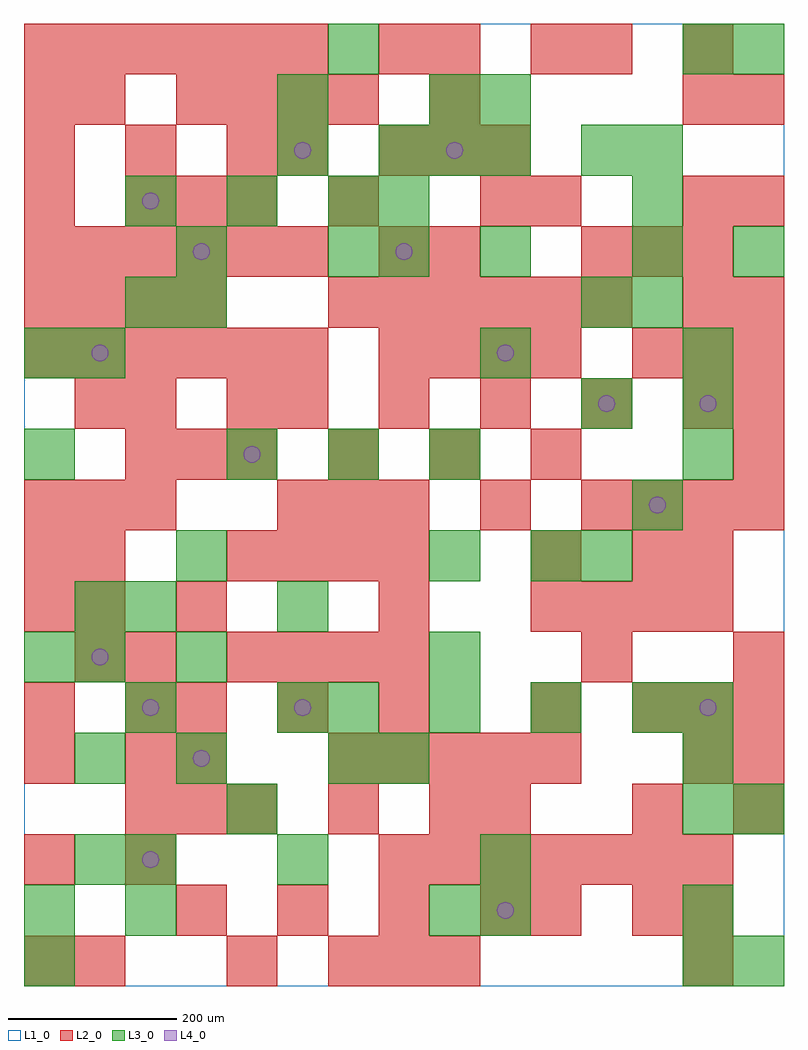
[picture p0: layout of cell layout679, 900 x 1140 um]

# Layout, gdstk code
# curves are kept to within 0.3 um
import gdstk
lib = gdstk.Library(unit=1e-6, precision=1e-09)
def R(c, l, rs):  # rectangles x0, y0, x1, y1
    for r in rs: c.add(gdstk.rectangle(r[:2], r[2:], *l))
def A(c, l, x, y, w, h, nx, ny, dx, dy):  # array of equal rectangles
    R(c, l, [(x+i*dx, y+j*dy, x+i*dx+w, y+j*dy+h) for i in range(nx) for j in range(ny)])
def P(c, l, *ps):  # polygons
    for p in ps: c.add(gdstk.Polygon(p, *l))
L1_0 = (1, 0)
L2_0 = (2, 0)
L3_0 = (3, 0)
L4_0 = (4, 0)

layout679 = lib.new_cell('layout679')
R(layout679, L1_0, [(0,0,900,1140)])
A(layout679, L2_0, 0, 0, 60, 60, 1, 3, 0, 120)
A(layout679, L2_0, 360, 0, 60, 60, 3, 1, 60, 0)
A(layout679, L2_0, 180, 60, 60, 60, 4, 1, 120, 0)
A(layout679, L2_0, 420, 120, 60, 60, 7, 1, 60, 0)
A(layout679, L2_0, 120, 180, 60, 60, 3, 2, 60, 420)
A(layout679, L2_0, 540, 180, 60, 60, 1, 3, 0, 360)
A(layout679, L2_0, 120, 240, 60, 60, 1, 3, 0, 60)
A(layout679, L2_0, 360, 240, 60, 60, 5, 1, 60, 0)
A(layout679, L2_0, 180, 300, 60, 60, 3, 1, 120, 0)
A(layout679, L2_0, 720, 300, 60, 60, 3, 2, 60, 420)
A(layout679, L2_0, 60, 360, 60, 60, 1, 3, 0, 60)
A(layout679, L2_0, 240, 360, 60, 60, 4, 2, 60, 120)
A(layout679, L2_0, 600, 420, 60, 60, 4, 1, 60, 0)
A(layout679, L2_0, 0, 540, 60, 60, 3, 1, 60, 0)
A(layout679, L2_0, 300, 540, 60, 60, 3, 1, 60, 0)
A(layout679, L2_0, 660, 540, 60, 60, 4, 1, 60, 0)
A(layout679, L2_0, 360, 600, 60, 60, 3, 1, 120, 0)
A(layout679, L2_0, 300, 660, 60, 60, 5, 1, 120, 0)
A(layout679, L2_0, 840, 660, 60, 60, 1, 4, 0, 120)
A(layout679, L2_0, 0, 720, 60, 60, 6, 2, 60, 120)
A(layout679, L2_0, 420, 720, 60, 60, 4, 1, 60, 0)
A(layout679, L2_0, 0, 780, 60, 60, 4, 1, 60, 0)
A(layout679, L2_0, 360, 780, 60, 60, 6, 1, 60, 0)
A(layout679, L2_0, 780, 780, 60, 60, 1, 3, 0, 120)
A(layout679, L2_0, 660, 840, 60, 60, 3, 1, 60, 0)
A(layout679, L2_0, 120, 900, 60, 60, 3, 1, 60, 0)
A(layout679, L2_0, 0, 960, 60, 60, 3, 1, 120, 0)
A(layout679, L2_0, 420, 960, 60, 60, 3, 1, 60, 0)
A(layout679, L2_0, 180, 1020, 60, 60, 4, 1, 60, 0)
A(layout679, L2_0, 0, 1080, 60, 60, 6, 1, 60, 0)
R(layout679, L2_0, [(60,0,120,60), (240,0,300,60), (780,0,840,60), (600,60,660,120), (720,60,780,120), (780,60,840,120), (120,120,180,180), (360,180,420,240), (480,180,540,240), (720,180,780,240), (840,180,900,240), (180,240,240,300), (780,240,840,300), (840,240,900,300), (0,300,60,360), (600,300,660,360), (660,360,720,420), (840,360,900,420), (0,420,60,480), (180,420,240,480), (420,420,480,480), (0,480,60,540), (600,480,660,540), (720,480,780,540), (780,480,840,540), (840,600,900,660), (60,660,120,720), (120,660,180,720), (240,660,300,720), (420,840,480,900), (480,840,540,900), (0,900,60,960), (360,900,420,960), (600,900,660,960), (300,960,360,1020), (0,1020,60,1080), (60,1020,120,1080), (480,1020,540,1080), (420,1080,480,1140), (480,1080,540,1140), (600,1080,660,1140), (660,1080,720,1140), (780,1080,840,1140)])
A(layout679, L3_0, 60, 120, 60, 60, 1, 3, 0, 120)
A(layout679, L3_0, 780, 180, 60, 60, 1, 3, 0, 60)
A(layout679, L3_0, 180, 240, 60, 60, 1, 3, 0, 120)
A(layout679, L3_0, 360, 300, 60, 60, 4, 1, 120, 0)
A(layout679, L3_0, 240, 600, 60, 60, 3, 1, 120, 0)
A(layout679, L3_0, 780, 600, 60, 60, 1, 3, 0, 60)
A(layout679, L3_0, 720, 780, 60, 60, 1, 4, 0, 60)
A(layout679, L3_0, 120, 900, 60, 60, 3, 1, 120, 0)
A(layout679, L3_0, 420, 960, 60, 60, 3, 1, 60, 0)
R(layout679, L3_0, [(0,0,60,60), (780,0,840,60), (840,0,900,60), (0,60,60,120), (120,60,180,120), (480,60,540,120), (540,60,600,120), (780,60,840,120), (120,120,180,180), (300,120,360,180), (540,120,600,180), (240,180,300,240), (840,180,900,240), (360,240,420,300), (420,240,480,300), (120,300,180,360), (300,300,360,360), (0,360,60,420), (480,360,540,420), (60,420,120,480), (120,420,180,480), (300,420,360,480), (480,480,540,540), (600,480,660,540), (660,480,720,540), (720,540,780,600), (0,600,60,660), (660,660,720,720), (0,720,60,780), (60,720,120,780), (540,720,600,780), (120,780,180,840), (180,780,240,840), (660,780,720,840), (180,840,240,900), (360,840,420,900), (420,840,480,900), (540,840,600,900), (840,840,900,900), (420,900,480,960), (300,960,360,1020), (660,960,720,1020), (300,1020,360,1080), (480,1020,540,1080), (540,1020,600,1080), (360,1080,420,1140), (780,1080,840,1140), (840,1080,900,1140)])
P(layout679, L4_0, [(100,390),(99.239,393.827),(97.071,397.071),(93.827,399.239),(90,400),(86.173,399.239),(82.929,397.071),(80.761,393.827),(80,390),(80.761,386.173),(82.929,382.929),(86.173,380.761),(90,380),(93.827,380.761),(97.071,382.929),(99.239,386.173)],
  [(100,750),(99.239,753.827),(97.071,757.071),(93.827,759.239),(90,760),(86.173,759.239),(82.929,757.071),(80.761,753.827),(80,750),(80.761,746.173),(82.929,742.929),(86.173,740.761),(90,740),(93.827,740.761),(97.071,742.929),(99.239,746.173)],
  [(160,150),(159.239,153.827),(157.071,157.071),(153.827,159.239),(150,160),(146.173,159.239),(142.929,157.071),(140.761,153.827),(140,150),(140.761,146.173),(142.929,142.929),(146.173,140.761),(150,140),(153.827,140.761),(157.071,142.929),(159.239,146.173)],
  [(160,330),(159.239,333.827),(157.071,337.071),(153.827,339.239),(150,340),(146.173,339.239),(142.929,337.071),(140.761,333.827),(140,330),(140.761,326.173),(142.929,322.929),(146.173,320.761),(150,320),(153.827,320.761),(157.071,322.929),(159.239,326.173)],
  [(160,930),(159.239,933.827),(157.071,937.071),(153.827,939.239),(150,940),(146.173,939.239),(142.929,937.071),(140.761,933.827),(140,930),(140.761,926.173),(142.929,922.929),(146.173,920.761),(150,920),(153.827,920.761),(157.071,922.929),(159.239,926.173)],
  [(220,270),(219.239,273.827),(217.071,277.071),(213.827,279.239),(210,280),(206.173,279.239),(202.929,277.071),(200.761,273.827),(200,270),(200.761,266.173),(202.929,262.929),(206.173,260.761),(210,260),(213.827,260.761),(217.071,262.929),(219.239,266.173)],
  [(220,870),(219.239,873.827),(217.071,877.071),(213.827,879.239),(210,880),(206.173,879.239),(202.929,877.071),(200.761,873.827),(200,870),(200.761,866.173),(202.929,862.929),(206.173,860.761),(210,860),(213.827,860.761),(217.071,862.929),(219.239,866.173)],
  [(280,630),(279.239,633.827),(277.071,637.071),(273.827,639.239),(270,640),(266.173,639.239),(262.929,637.071),(260.761,633.827),(260,630),(260.761,626.173),(262.929,622.929),(266.173,620.761),(270,620),(273.827,620.761),(277.071,622.929),(279.239,626.173)],
  [(340,330),(339.239,333.827),(337.071,337.071),(333.827,339.239),(330,340),(326.173,339.239),(322.929,337.071),(320.761,333.827),(320,330),(320.761,326.173),(322.929,322.929),(326.173,320.761),(330,320),(333.827,320.761),(337.071,322.929),(339.239,326.173)],
  [(340,990),(339.239,993.827),(337.071,997.071),(333.827,999.239),(330,1000),(326.173,999.239),(322.929,997.071),(320.761,993.827),(320,990),(320.761,986.173),(322.929,982.929),(326.173,980.761),(330,980),(333.827,980.761),(337.071,982.929),(339.239,986.173)],
  [(460,870),(459.239,873.827),(457.071,877.071),(453.827,879.239),(450,880),(446.173,879.239),(442.929,877.071),(440.761,873.827),(440,870),(440.761,866.173),(442.929,862.929),(446.173,860.761),(450,860),(453.827,860.761),(457.071,862.929),(459.239,866.173)],
  [(520,990),(519.239,993.827),(517.071,997.071),(513.827,999.239),(510,1000),(506.173,999.239),(502.929,997.071),(500.761,993.827),(500,990),(500.761,986.173),(502.929,982.929),(506.173,980.761),(510,980),(513.827,980.761),(517.071,982.929),(519.239,986.173)],
  [(580,90),(579.239,93.827),(577.071,97.071),(573.827,99.239),(570,100),(566.173,99.239),(562.929,97.071),(560.761,93.827),(560,90),(560.761,86.173),(562.929,82.929),(566.173,80.761),(570,80),(573.827,80.761),(577.071,82.929),(579.239,86.173)],
  [(580,750),(579.239,753.827),(577.071,757.071),(573.827,759.239),(570,760),(566.173,759.239),(562.929,757.071),(560.761,753.827),(560,750),(560.761,746.173),(562.929,742.929),(566.173,740.761),(570,740),(573.827,740.761),(577.071,742.929),(579.239,746.173)],
  [(700,690),(699.239,693.827),(697.071,697.071),(693.827,699.239),(690,700),(686.173,699.239),(682.929,697.071),(680.761,693.827),(680,690),(680.761,686.173),(682.929,682.929),(686.173,680.761),(690,680),(693.827,680.761),(697.071,682.929),(699.239,686.173)],
  [(760,570),(759.239,573.827),(757.071,577.071),(753.827,579.239),(750,580),(746.173,579.239),(742.929,577.071),(740.761,573.827),(740,570),(740.761,566.173),(742.929,562.929),(746.173,560.761),(750,560),(753.827,560.761),(757.071,562.929),(759.239,566.173)],
  [(820,330),(819.239,333.827),(817.071,337.071),(813.827,339.239),(810,340),(806.173,339.239),(802.929,337.071),(800.761,333.827),(800,330),(800.761,326.173),(802.929,322.929),(806.173,320.761),(810,320),(813.827,320.761),(817.071,322.929),(819.239,326.173)],
  [(820,690),(819.239,693.827),(817.071,697.071),(813.827,699.239),(810,700),(806.173,699.239),(802.929,697.071),(800.761,693.827),(800,690),(800.761,686.173),(802.929,682.929),(806.173,680.761),(810,680),(813.827,680.761),(817.071,682.929),(819.239,686.173)])

lib.write_gds('layout679.gds')
